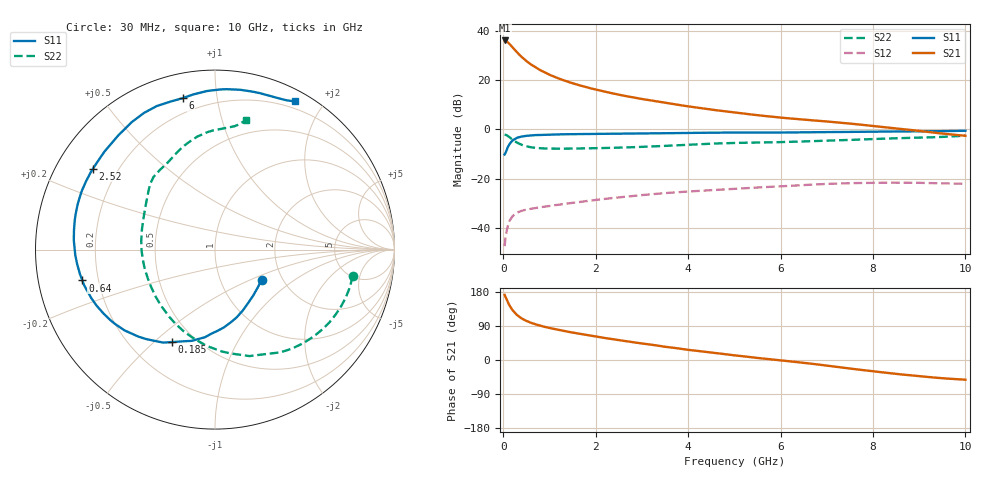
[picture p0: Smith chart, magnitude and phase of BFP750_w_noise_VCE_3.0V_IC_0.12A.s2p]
! Infineon Technologies  Discrete & RF Semiconductors
! BFP750
! VCE =  3.0 V,  IC = 0.12 A
! Common Emitter S-Parameters:  Jan 2016
# GHz  S  MA  R  50
!  f  S11  S21  S12  S22
! GHz  MAG  ANG  MAG  ANG  MAG  ANG  MAG  ANG
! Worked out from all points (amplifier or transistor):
!   229 points, 30 MHz to 10 GHz, reference 50 ohm
!   highest |S21| = 36.2 dB at 30 MHz (marker M1)
!   |S21| within 3 dB of that: start of sweep to 211.2 MHz
!   unconditionally stable (mu >= 1): 2.545 GHz to end of sweep
!   at 280 MHz: K = 0.31, MSG = 33.0 dB, |S12| = -34.2 dB
!   at 1.78 GHz: K = 0.86, MSG = 23.3 dB, |S12| = -29.2 dB
!   at 10 GHz: K = 1.06, MAG = 8.2 dB, |S12| = -22.1 dB
!   lowest NFmin = 1.96 dB at 450 MHz
!   S11 on the Smith chart (normalised r, x): 30 MHz: 1.57, -0.58; 185 MHz: 0.37, -0.57; 640 MHz: 0.14, -0.11; 2.52 GHz: 0.11, +0.30; 6 GHz: 0.12, +0.80; 10 GHz: 0.12, +1.66
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0.03  0.3085 -32.7  64.54 171.9  0.0042 61.4  0.7804 -10.9
0.05  0.333 -50.3  63.88 165.7  0.0063 62.4  0.7764 -19.9
0.07  0.3737 -65.7  62.3 160.0  0.0082 61.5  0.7634 -28.3
0.1  0.4368 -83.6  59.18 152.1  0.0109 57.9  0.7357 -40.1
0.15  0.5246 -104.3  53.1 140.8  0.0144 51.1  0.6785 -57.5
0.185  0.569 -115.1  48.66 134.6  0.0162 46.9  0.6355 -67.5
0.26  0.646 -131.4  40.64 123.4  0.0191 40.6  0.5679 -86.4
0.3  0.6756 -138.2  36.91 118.5  0.0202 37.9  0.5389 -94.8
0.36  0.7024 -145.8  32.35 113.0  0.0214 35.1  0.5035 -105.2
0.4  0.7161 -150.2  29.75 109.6  0.022 33.7  0.4859 -111.5
0.5  0.7404 -158.6  24.68 103.2  0.0232 31.4  0.4534 -124.1
0.64  0.7588 -166.9  19.87 96.7  0.0246 30.0  0.4277 -137.1
1  0.7831 179.0  12.96 84.5  0.0276 29.4  0.4067 -158.9
1.3  0.795 170.8  10.03 76.9  0.0302 30.0  0.4053 -170.0
1.7  0.8056 161.9  7.659 68.2  0.0338 30.4  0.4099 179.2
2.52  0.8157 146.4  5.045 52.2  0.0414 29.0  0.4254 162.1
3.4  0.8302 131.9  3.6 36.9  0.0496 24.9  0.457 147.7
5.1  0.8621 111.0  2.154 11.1  0.0626 14.9  0.5316 129.2
6  0.8626 102.1  1.735 -1.0  0.0694 9.1  0.551 118.8
6.8  0.8791 94.9  1.499 -11.7  0.076 2.5  0.5797 111.6
8.4  0.9049 76.3  1.071 -35.3  0.0824 -13.3  0.6558 93.7
10  0.9375 61.8  0.74 -52.0  0.0782 -25.6  0.7443 76.4
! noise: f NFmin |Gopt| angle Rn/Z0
0.45  1.96  0.39  -169  0.34
0.9  1.96  0.49  -163  0.17
1.5  1.98  0.59  -154  0.11
1.9  1.99  0.6  -148  0.13
2.4  2.01  0.6  -141  0.19
3.5  2.46  0.62  -124  0.32
